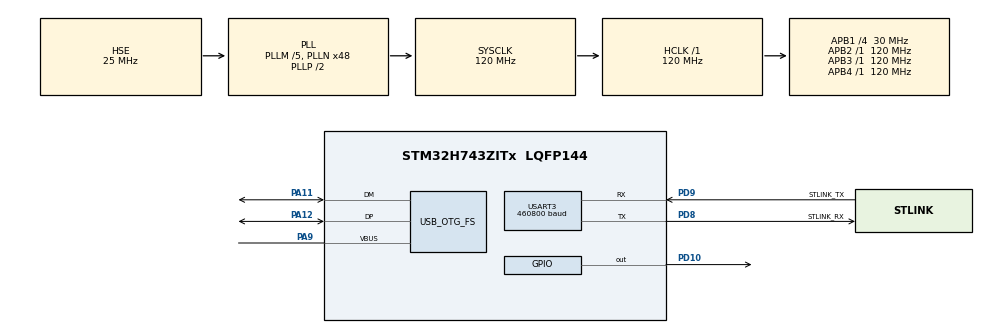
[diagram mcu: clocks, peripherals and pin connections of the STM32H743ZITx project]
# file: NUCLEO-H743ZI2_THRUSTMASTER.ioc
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CORTEX_M7.default_mode_Activation=1
Mcu.Family=STM32H7
Mcu.Name=STM32H743ZITx
Mcu.Package=LQFP144
NVIC.OTG_FS_IRQn=true\:0\:0\:false\:false\:true\:false\:true\:true
NVIC.PriorityGroup=NVIC_PRIORITYGROUP_4
PA11.Mode=Host_Only
PA11.Signal=USB_OTG_FS_DM
PA12.Mode=Host_Only
PA12.Signal=USB_OTG_FS_DP
PA13\ (JTMS/SWDIO).GPIO_Label=JTMS
PA13\ (JTMS/SWDIO).Signal=DEBUG_JTMS-SWDIO
PA14\ (JTCK/SWCLK).GPIO_Label=JTCK
PA14\ (JTCK/SWCLK).Signal=DEBUG_JTCK-SWCLK
PA9.Mode=Activate_VBUS
PA9.Signal=USB_OTG_FS_VBUS
PC14-OSC32_IN\ (OSC32_IN).Signal=RCC_OSC32_IN
PC15-OSC32_OUT\ (OSC32_OUT).Signal=RCC_OSC32_OUT
PD10.Signal=GPIO_Output
PD8.GPIO_Label=STLINK_RX
PD8.Mode=Asynchronous
PD8.Signal=USART3_TX
PD9.GPIO_Label=STLINK_TX
PD9.Mode=Asynchronous
PD9.Signal=USART3_RX
PH0-OSC_IN\ (PH0).Mode=HSE-External-Oscillator
PH0-OSC_IN\ (PH0).Signal=RCC_OSC_IN
PH1-OSC_OUT\ (PH1).Mode=HSE-External-Oscillator
PH1-OSC_OUT\ (PH1).Signal=RCC_OSC_OUT
ProjectManager.HeapSize=0x200
ProjectManager.StackSize=0x400
ProjectManager.TargetToolchain=STM32CubeIDE
RCC.ADCFreq_Value=50390625
RCC.APB1Freq_Value=30000000
RCC.APB2Freq_Value=120000000
RCC.APB3Freq_Value=120000000
RCC.APB4Freq_Value=120000000
RCC.CortexFreq_Value=120000000
RCC.D2PPRE1=RCC_APB1_DIV4
RCC.DIVM1=5
RCC.DIVN1=48
RCC.DIVQ1=5
RCC.HCLKFreq_Value=120000000
RCC.PLLFRACN=0
RCC.SYSCLKFreq_VALUE=120000000
RCC.SYSCLKSource=RCC_SYSCLKSOURCE_PLLCLK
RCC.USBFreq_Value=48000000
USART3.BaudRate=460800
USART3.VirtualMode-Asynchronous=VM_ASYNC
USB_HOST.BSP.number=1
USB_HOST.USBH_HandleTypeDef-HID_FS=hUsbHostFS
USB_HOST.VirtualModeFS=Hid
USB_HOST0.BSP.STBoard=false
USB_HOST0.BSP.api=Unknown
USB_HOST0.BSP.condition=SW_VBUS_DRIVE_HID_FS \= false
USB_HOST0.BSP.instance=PD10
USB_HOST0.BSP.ip=GPIO
USB_HOST0.BSP.mode=Output
USB_HOST0.BSP.name=Drive_VBUS_FS
USB_HOST0.BSP.solution=PD10
USB_OTG_FS.VirtualMode=Host_Only
USB_OTG_FS.phy_itface=HCD_PHY_EMBEDDED
VP_MEMORYMAP_VS_MEMORYMAP.Mode=CurAppReg
VP_USB_HOST_VS_USB_HOST_HID_FS.Mode=HID_FS
board=NUCLEO-H743ZI2

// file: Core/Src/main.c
/* USER CODE BEGIN Header */
/**
  ******************************************************************************
  * @file           : main.c
  * @brief          : Main program body
  ******************************************************************************
  * @attention
  *
  * Copyright (c) 2026 STMicroelectronics.
  * All rights reserved.
  *
  * This software is licensed under terms that can be found in the LICENSE file
  * in the root directory of this software component.
  * If no LICENSE file comes with this software, it is provided AS-IS.
  *
  ******************************************************************************
  */
/* USER CODE END Header */
#include "main.h"
#include "usart.h"
#include "usb_host.h"
#include "gpio.h"

/* USER CODE BEGIN Includes */
#include "usbh_hid.h"
#include "usbh_hid_throttle.h"

/* USER CODE END Includes */

/* USER CODE BEGIN PV */
// Global buffer for processed throttle data
//volatile JoystickData_t g_joystickData;
volatile ThrottleData_t g_throttleData;

/* USER CODE END PV */

void SystemClock_Config(void);
static void MPU_Config(void);
void MX_USB_HOST_Process(void);

/* USER CODE BEGIN PFP */
void uint16_to_padded_str(uint16_t value, char *str);

/* USER CODE END PFP */

/* USER CODE BEGIN 0 */
void USBH_HID_EventCallback(USBH_HandleTypeDef *phost) {
    HID_HandleTypeDef *HID_Handle = (HID_HandleTypeDef *)phost->pActiveClass->pData;
    uint8_t *current = HID_Handle->pData;

    // Only process new reports (compare first 16 bytes)
    static uint8_t last_report[THROTTLE_REPORT_EFFECTIVE_SIZE];

    if (memcmp(current, last_report, THROTTLE_REPORT_EFFECTIVE_SIZE) != 0) {
        memcpy(last_report, current, THROTTLE_REPORT_EFFECTIVE_SIZE);

        ThrottleData_t data = USBH_HID_GetThrottleData(current);

        // Atomically update the global buffer
        __disable_irq();
        g_throttleData = data;
        __enable_irq();
    }
}

/* USER CODE END 0 */

int main(void)
{

  /* USER CODE BEGIN 1 */
  uint32_t lastPrint = 0;

  //JoystickData_t localCopyJoystick;
  ThrottleData_t localCopyThrottle;

  char xStr[6], yStr[6], msg[40];
  char zStr[6], sStr[6];
  int k;

  // Initialize global buffer
  g_throttleData.x = 0;
  g_throttleData.y = 0;
  g_throttleData.slider = 0;
  g_throttleData.z = 0;
  g_throttleData.rz = 0;

  for (int i = 0; i < 32; i++) {
	  g_throttleData.buttons[i] = 0;
  }
  g_throttleData.hat_switch = 8;

  /* USER CODE END 1 */

  /* MPU Configuration--------------------------------------------------------*/
  MPU_Config();

  /* MCU Configuration--------------------------------------------------------*/

  /* Reset of all peripherals, Initializes the Flash interface and the Systick. */
  HAL_Init();

  /* Configure the system clock */
  SystemClock_Config();

  /* Initialize all configured peripherals */
  MX_GPIO_Init();
  MX_USART3_UART_Init();
  MX_USB_HOST_Init();
  /* USER CODE BEGIN 2 */
  HAL_GPIO_WritePin(GPIOD, GPIO_PIN_10, GPIO_PIN_RESET);

  /* USER CODE END 2 */

  /* Infinite loop */
  while (1)
  {
    MX_USB_HOST_Process();

    /* USER CODE BEGIN 3 */
    // Print every 250ms
    if (HAL_GetTick() - lastPrint >= 250) {
    	lastPrint = HAL_GetTick();

        // Copy throttle data atomically
        __disable_irq();
        //localCopyJoystick = g_joystickData;
        localCopyThrottle = g_throttleData;
        __enable_irq();

        uint16_to_padded_str(localCopyThrottle.z, zStr);
        uint16_to_padded_str(localCopyThrottle.x, xStr);
        uint16_to_padded_str(localCopyThrottle.y, yStr);
        uint16_to_padded_str(localCopyThrottle.slider, sStr);

        // Put message together: "Z:xxxxx X:yyyyy Y:yyyyy S:yyyyy\r\n"
        k = 0;
        msg[k++] = 'Z'; msg[k++] = ':';
        for (int i = 0; i < 5; i++) msg[k++] = zStr[i];
        msg[k++] = ' ';
        msg[k++] = 'X'; msg[k++] = ':';
        for (int i = 0; i < 5; i++) msg[k++] = xStr[i];
        msg[k++] = ' ';
        msg[k++] = 'Y'; msg[k++] = ':';
        for (int i = 0; i < 5; i++) msg[k++] = yStr[i];
        msg[k++] = ' ';
        msg[k++] = 'S'; msg[k++] = ':';
        for (int i = 0; i < 5; i++) msg[k++] = sStr[i];
        msg[k++] = '\r'; msg[k++] = '\n';
        msg[k] = '\0';

        HAL_UART_Transmit(&huart3, (uint8_t*)msg, k, 100);
    }
  }
  /* USER CODE END 3 */
}

void SystemClock_Config(void)
{
  RCC_OscInitTypeDef RCC_OscInitStruct = {0};
  RCC_ClkInitTypeDef RCC_ClkInitStruct = {0};

  /** Supply configuration update enable
  */
  HAL_PWREx_ConfigSupply(PWR_LDO_SUPPLY);

  /** Configure the main internal regulator output voltage
  */
  __HAL_PWR_VOLTAGESCALING_CONFIG(PWR_REGULATOR_VOLTAGE_SCALE3);

  while(!__HAL_PWR_GET_FLAG(PWR_FLAG_VOSRDY)) {}

  /** Initializes the RCC Oscillators according to the specified parameters
  * in the RCC_OscInitTypeDef structure.
  */
  RCC_OscInitStruct.OscillatorType = RCC_OSCILLATORTYPE_HSE;
  RCC_OscInitStruct.HSEState = RCC_HSE_ON;
  RCC_OscInitStruct.PLL.PLLState = RCC_PLL_ON;
  RCC_OscInitStruct.PLL.PLLSource = RCC_PLLSOURCE_HSE;
  RCC_OscInitStruct.PLL.PLLM = 5;
  RCC_OscInitStruct.PLL.PLLN = 48;
  RCC_OscInitStruct.PLL.PLLP = 2;
  RCC_OscInitStruct.PLL.PLLQ = 5;
  RCC_OscInitStruct.PLL.PLLR = 2;
  RCC_OscInitStruct.PLL.PLLRGE = RCC_PLL1VCIRANGE_2;
  RCC_OscInitStruct.PLL.PLLVCOSEL = RCC_PLL1VCOWIDE;
  RCC_OscInitStruct.PLL.PLLFRACN = 0;
  if (HAL_RCC_OscConfig(&RCC_OscInitStruct) != HAL_OK)
  {
    Error_Handler();
  }

  /** Initializes the CPU, AHB and APB buses clocks
  */
  RCC_ClkInitStruct.ClockType = RCC_CLOCKTYPE_HCLK|RCC_CLOCKTYPE_SYSCLK
                              |RCC_CLOCKTYPE_PCLK1|RCC_CLOCKTYPE_PCLK2
                              |RCC_CLOCKTYPE_D3PCLK1|RCC_CLOCKTYPE_D1PCLK1;
  RCC_ClkInitStruct.SYSCLKSource = RCC_SYSCLKSOURCE_PLLCLK;
  RCC_ClkInitStruct.SYSCLKDivider = RCC_SYSCLK_DIV1;
  RCC_ClkInitStruct.AHBCLKDivider = RCC_HCLK_DIV1;
  RCC_ClkInitStruct.APB3CLKDivider = RCC_APB3_DIV1;
  RCC_ClkInitStruct.APB1CLKDivider = RCC_APB1_DIV4;
  RCC_ClkInitStruct.APB2CLKDivider = RCC_APB2_DIV1;
  RCC_ClkInitStruct.APB4CLKDivider = RCC_APB4_DIV1;

  if (HAL_RCC_ClockConfig(&RCC_ClkInitStruct, FLASH_LATENCY_2) != HAL_OK)
  {
    Error_Handler();
  }
}

/* USER CODE BEGIN 4 */
void uint16_to_padded_str(uint16_t value, char *str) {
    // Temporary buffer for the numeric characters (max. 5 digits + null terminator)
    char temp[6];
    int i = 0;

    // Convert the number into the temp buffer (stored in reverse order)
    do {
        temp[i++] = (value % 10) + '0';
        value /= 10;
    } while (value > 0 && i < 5);

    // Pad with spaces if the number has fewer than 5 digits
    while (i < 5) {
        temp[i++] = ' ';
    }

    // Reverse the content of temp into the output string (fixed width: 5 chars)
    for (int j = 0; j < 5; j++) {
        str[j] = temp[4 - j];
    }

    // Null‑terminate the result
    str[5] = '\0';
}

/* USER CODE END 4 */

 /* MPU Configuration */

void MPU_Config(void)
{
  MPU_Region_InitTypeDef MPU_InitStruct = {0};

  /* Disables the MPU */
  HAL_MPU_Disable();

  /** Initializes and configures the Region and the memory to be protected
  */
  MPU_InitStruct.Enable = MPU_REGION_ENABLE;
  MPU_InitStruct.Number = MPU_REGION_NUMBER0;
  MPU_InitStruct.BaseAddress = 0x0;
  MPU_InitStruct.Size = MPU_REGION_SIZE_4GB;
  MPU_InitStruct.SubRegionDisable = 0x87;
  MPU_InitStruct.TypeExtField = MPU_TEX_LEVEL0;
  MPU_InitStruct.AccessPermission = MPU_REGION_NO_ACCESS;
  MPU_InitStruct.DisableExec = MPU_INSTRUCTION_ACCESS_DISABLE;
  MPU_InitStruct.IsShareable = MPU_ACCESS_SHAREABLE;
  MPU_InitStruct.IsCacheable = MPU_ACCESS_NOT_CACHEABLE;
  MPU_InitStruct.IsBufferable = MPU_ACCESS_NOT_BUFFERABLE;

  HAL_MPU_ConfigRegion(&MPU_InitStruct);
  /* Enables the MPU */
  HAL_MPU_Enable(MPU_PRIVILEGED_DEFAULT);

}

void Error_Handler(void)
{
  __disable_irq();
  while (1)
  {
  }
}
